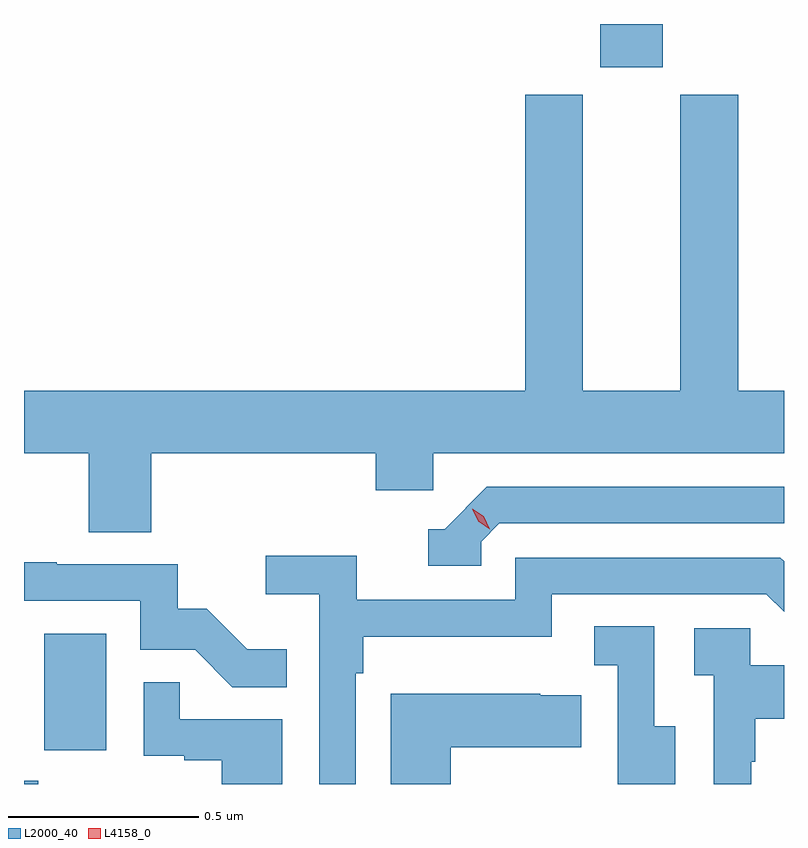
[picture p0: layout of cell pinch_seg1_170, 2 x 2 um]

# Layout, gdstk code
import gdstk
lib = gdstk.Library(unit=1e-6, precision=1e-09)
def R(c, l, rs):  # rectangles x0, y0, x1, y1
    for r in rs: c.add(gdstk.rectangle(r[:2], r[2:], *l))
def P(c, l, *ps):  # polygons
    for p in ps: c.add(gdstk.Polygon(p, *l))
L2000_40 = (2000, 40)
L4158_0 = (4158, 0)

pinch_seg1_170 = lib.new_cell('pinch_seg1_170')
R(pinch_seg1_170, L2000_40, [(1097.667,542.869,1097.704,542.877), (1097.72,542.958,1097.884,543.265), (1099.184,544.755,1099.348,544.869)])
P(pinch_seg1_170, L2000_40, [(1098.002,543.74),(1098.593,543.74),(1098.593,543.642),(1098.744,543.642),(1098.744,543.74),(1099.667,543.74),(1099.667,543.904),(1099.547,543.904),(1099.547,544.683),(1099.394,544.683),(1099.394,543.904),(1099.138,543.904),(1099.138,544.683),(1098.986,544.683),(1098.986,543.904),(1097.667,543.904),(1097.667,543.74),(1097.837,543.74),(1097.837,543.532),(1098.002,543.532)],
  [(1098.87,543.507),(1098.918,543.555),(1099.667,543.555),(1099.667,543.651),(1098.885,543.651),(1098.774,543.54),(1098.731,543.54),(1098.731,543.444),(1098.87,543.444)],
  [(1098.54,543.161),(1098.56,543.161),(1098.56,543.257),(1099.056,543.257),(1099.056,543.369),(1099.62,543.369),(1099.667,543.322),(1099.667,543.455),(1099.657,543.465),(1098.96,543.465),(1098.96,543.354),(1098.542,543.354),(1098.542,543.47),(1098.303,543.47),(1098.303,543.368),(1098.444,543.368),(1098.444,542.869),(1098.54,542.869)],
  [(1098.359,543.223),(1098.255,543.223),(1098.148,543.33),(1098.072,543.33),(1098.072,543.447),(1097.753,543.447),(1097.753,543.452),(1097.667,543.452),(1097.667,543.351),(1097.973,543.351),(1097.973,543.222),(1098.117,543.222),(1098.215,543.124),(1098.359,543.124)],
  [(1099.381,543.021),(1099.326,543.021),(1099.326,543.284),(1099.167,543.284),(1099.167,543.181),(1099.23,543.181),(1099.23,542.877),(1099.229,542.877),(1099.229,542.869),(1099.381,542.869)],
  [(1099.581,542.927),(1099.591,542.927),(1099.591,543.041),(1099.667,543.041),(1099.667,543.181),(1099.578,543.181),(1099.578,543.279),(1099.431,543.279),(1099.431,543.155),(1099.482,543.155),(1099.482,542.869),(1099.581,542.869)],
  [(1098.346,543.039),(1098.077,543.039),(1098.077,543.137),(1097.982,543.137),(1097.982,542.943),(1098.089,542.943),(1098.089,542.931),(1098.188,542.931),(1098.188,542.869),(1098.346,542.869)],
  [(1098.79,542.966),(1099.133,542.966),(1099.133,543.103),(1099.025,543.103),(1099.025,543.106),(1098.632,543.106),(1098.632,542.869),(1098.79,542.869)])
P(pinch_seg1_170, L4158_0, [(1098.892,543.539),(1098.862,543.56),(1098.846,543.593),(1098.846,543.593),(1098.847,543.593),(1098.877,543.573),(1098.893,543.54),(1098.893,543.539)])

lib.write_gds('pinch_seg1_170.gds')
